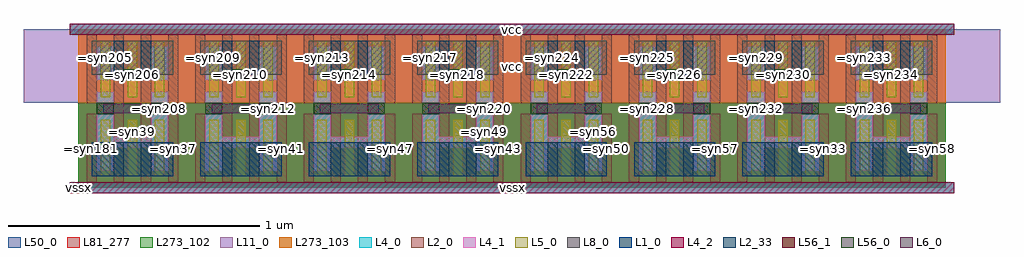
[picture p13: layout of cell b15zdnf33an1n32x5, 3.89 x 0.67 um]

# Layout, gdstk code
import gdstk
lib = gdstk.Library(unit=1e-6, precision=5e-10)
def R(c, l, rs):  # rectangles x0, y0, x1, y1
    for r in rs: c.add(gdstk.rectangle(r[:2], r[2:], *l))
def A(c, l, x, y, w, h, nx, ny, dx, dy):  # array of equal rectangles
    R(c, l, [(x+i*dx, y+j*dy, x+i*dx+w, y+j*dy+h) for i in range(nx) for j in range(ny)])
def P(c, l, *ps):  # polygons
    for p in ps: c.add(gdstk.Polygon(p, *l))
L1_0 = (1, 0)
L2_0 = (2, 0)
L2_33 = (2, 33)
L4_0 = (4, 0)
L4_1 = (4, 1)
L4_2 = (4, 2)
L5_0 = (5, 0)
L6_0 = (6, 0)
L8_0 = (8, 0)
L11_0 = (11, 0)
L50_0 = (50, 0)
L56_0 = (56, 0)
L56_1 = (56, 1)
L81_277 = (81, 277)
L273_102 = (273, 102)
L273_103 = (273, 103)

b15zdnf33an1n32x5 = lib.new_cell('b15zdnf33an1n32x5')
A(b15zdnf33an1n32x5, L1_0, 0.054, 0.045, 0.324, 0.135, 8, 1, 0.432, 0)
R(b15zdnf33an1n32x5, L2_0, [(0.034,0.021,0.074,0.294), (0.142,0.021,0.182,0.609), (0.25,0.021,0.29,0.609), (0.358,0.021,0.398,0.294), (0.466,0.021,0.506,0.294), (0.574,0.021,0.614,0.609), (0.682,0.021,0.722,0.609), (0.79,0.021,0.83,0.294), (0.898,0.021,0.938,0.294), (1.006,0.021,1.046,0.609), (1.114,0.021,1.154,0.609), (1.222,0.021,1.262,0.294), (1.33,0.021,1.37,0.294), (1.438,0.021,1.478,0.609), (1.546,0.021,1.586,0.609), (1.654,0.021,1.694,0.294), (1.762,0.021,1.802,0.294), (1.87,0.021,1.91,0.609), (1.978,0.021,2.018,0.609), (2.086,0.021,2.126,0.294), (2.194,0.021,2.234,0.294), (2.302,0.021,2.342,0.609), (2.41,0.021,2.45,0.609), (2.518,0.021,2.558,0.294), (2.626,0.021,2.666,0.294), (2.734,0.021,2.774,0.609), (2.842,0.021,2.882,0.609), (2.95,0.021,2.99,0.294), (3.058,0.021,3.098,0.294), (3.166,0.021,3.206,0.609), (3.274,0.021,3.314,0.609), (3.382,0.021,3.422,0.294), (0.034,0.336,0.074,0.609), (0.358,0.336,0.398,0.609), (0.466,0.336,0.506,0.609), (0.79,0.336,0.83,0.609), (0.898,0.336,0.938,0.609), (1.222,0.336,1.262,0.609), (1.33,0.336,1.37,0.609), (1.654,0.336,1.694,0.609), (1.762,0.336,1.802,0.609), (2.086,0.336,2.126,0.609), (2.194,0.336,2.234,0.609), (2.518,0.336,2.558,0.609), (2.626,0.336,2.666,0.609), (2.95,0.336,2.99,0.609), (3.058,0.336,3.098,0.609), (3.382,0.336,3.422,0.609)])
R(b15zdnf33an1n32x5, L2_33, [(0.142,0.045,0.182,0.18), (0.25,0.045,0.29,0.18), (0.574,0.045,0.614,0.18), (0.682,0.045,0.722,0.18), (1.006,0.045,1.046,0.18), (1.114,0.045,1.154,0.18), (1.438,0.045,1.478,0.18), (1.546,0.045,1.586,0.18), (1.87,0.045,1.91,0.18), (1.978,0.045,2.018,0.18), (2.302,0.045,2.342,0.18), (2.41,0.045,2.45,0.18), (2.734,0.045,2.774,0.18), (2.842,0.045,2.882,0.18), (3.166,0.045,3.206,0.18), (3.274,0.045,3.314,0.18), (0.142,0.45,0.182,0.585), (0.25,0.45,0.29,0.585), (0.574,0.45,0.614,0.585), (0.682,0.45,0.722,0.585), (1.006,0.45,1.046,0.585), (1.114,0.45,1.154,0.585), (1.438,0.45,1.478,0.585), (1.546,0.45,1.586,0.585), (1.87,0.45,1.91,0.585), (1.978,0.45,2.018,0.585), (2.302,0.45,2.342,0.585), (2.41,0.45,2.45,0.585), (2.734,0.45,2.774,0.585), (2.842,0.45,2.882,0.585), (3.166,0.45,3.206,0.585), (3.274,0.45,3.314,0.585)])
R(b15zdnf33an1n32x5, L4_0, [(-0.034,-0.022,3.49,0.022), (-0.034,0.608,3.49,0.652)])
P(b15zdnf33an1n32x5, L4_0, [(0.358,0.428),(0.074,0.428),(0.074,0.562),(0.142,0.562),(0.142,0.472),(0.29,0.472),(0.29,0.562),(0.358,0.562)],
  [(0.358,0.068),(0.29,0.068),(0.29,0.158),(0.142,0.158),(0.142,0.068),(0.074,0.068),(0.074,0.382),(0.142,0.382),(0.142,0.202),(0.29,0.202),(0.29,0.382),(0.358,0.382)],
  [(0.79,0.428),(0.506,0.428),(0.506,0.562),(0.574,0.562),(0.574,0.472),(0.722,0.472),(0.722,0.562),(0.79,0.562)],
  [(0.79,0.068),(0.722,0.068),(0.722,0.158),(0.574,0.158),(0.574,0.068),(0.506,0.068),(0.506,0.382),(0.574,0.382),(0.574,0.202),(0.722,0.202),(0.722,0.382),(0.79,0.382)],
  [(1.222,0.428),(0.938,0.428),(0.938,0.562),(1.006,0.562),(1.006,0.472),(1.154,0.472),(1.154,0.562),(1.222,0.562)],
  [(1.222,0.068),(1.154,0.068),(1.154,0.158),(1.006,0.158),(1.006,0.068),(0.938,0.068),(0.938,0.382),(1.006,0.382),(1.006,0.202),(1.154,0.202),(1.154,0.382),(1.222,0.382)],
  [(1.654,0.428),(1.37,0.428),(1.37,0.562),(1.438,0.562),(1.438,0.472),(1.586,0.472),(1.586,0.562),(1.654,0.562)],
  [(1.654,0.068),(1.586,0.068),(1.586,0.158),(1.438,0.158),(1.438,0.068),(1.37,0.068),(1.37,0.382),(1.438,0.382),(1.438,0.202),(1.586,0.202),(1.586,0.382),(1.654,0.382)],
  [(2.086,0.428),(1.802,0.428),(1.802,0.562),(1.87,0.562),(1.87,0.472),(2.018,0.472),(2.018,0.562),(2.086,0.562)],
  [(2.086,0.068),(2.018,0.068),(2.018,0.158),(1.87,0.158),(1.87,0.068),(1.802,0.068),(1.802,0.382),(1.87,0.382),(1.87,0.202),(2.018,0.202),(2.018,0.382),(2.086,0.382)],
  [(2.518,0.428),(2.234,0.428),(2.234,0.562),(2.302,0.562),(2.302,0.472),(2.45,0.472),(2.45,0.562),(2.518,0.562)],
  [(2.518,0.068),(2.45,0.068),(2.45,0.158),(2.302,0.158),(2.302,0.068),(2.234,0.068),(2.234,0.382),(2.302,0.382),(2.302,0.202),(2.45,0.202),(2.45,0.382),(2.518,0.382)],
  [(2.95,0.428),(2.666,0.428),(2.666,0.562),(2.734,0.562),(2.734,0.472),(2.882,0.472),(2.882,0.562),(2.95,0.562)],
  [(2.95,0.068),(2.882,0.068),(2.882,0.158),(2.734,0.158),(2.734,0.068),(2.666,0.068),(2.666,0.382),(2.734,0.382),(2.734,0.202),(2.882,0.202),(2.882,0.382),(2.95,0.382)],
  [(3.382,0.428),(3.098,0.428),(3.098,0.562),(3.166,0.562),(3.166,0.472),(3.314,0.472),(3.314,0.562),(3.382,0.562)],
  [(3.382,0.068),(3.314,0.068),(3.314,0.158),(3.166,0.158),(3.166,0.068),(3.098,0.068),(3.098,0.382),(3.166,0.382),(3.166,0.202),(3.314,0.202),(3.314,0.382),(3.382,0.382)])
P(b15zdnf33an1n32x5, L4_1, [(0.358,0.428),(0.074,0.428),(0.074,0.562),(0.142,0.562),(0.142,0.472),(0.29,0.472),(0.29,0.562),(0.358,0.562)],
  [(0.358,0.068),(0.29,0.068),(0.29,0.158),(0.142,0.158),(0.142,0.068),(0.074,0.068),(0.074,0.382),(0.142,0.382),(0.142,0.202),(0.29,0.202),(0.29,0.382),(0.358,0.382)],
  [(0.79,0.428),(0.506,0.428),(0.506,0.562),(0.574,0.562),(0.574,0.472),(0.722,0.472),(0.722,0.562),(0.79,0.562)],
  [(0.79,0.068),(0.722,0.068),(0.722,0.158),(0.574,0.158),(0.574,0.068),(0.506,0.068),(0.506,0.382),(0.574,0.382),(0.574,0.202),(0.722,0.202),(0.722,0.382),(0.79,0.382)],
  [(1.222,0.428),(0.938,0.428),(0.938,0.562),(1.006,0.562),(1.006,0.472),(1.154,0.472),(1.154,0.562),(1.222,0.562)],
  [(1.222,0.068),(1.154,0.068),(1.154,0.158),(1.006,0.158),(1.006,0.068),(0.938,0.068),(0.938,0.382),(1.006,0.382),(1.006,0.202),(1.154,0.202),(1.154,0.382),(1.222,0.382)],
  [(1.654,0.428),(1.37,0.428),(1.37,0.562),(1.438,0.562),(1.438,0.472),(1.586,0.472),(1.586,0.562),(1.654,0.562)],
  [(1.654,0.068),(1.586,0.068),(1.586,0.158),(1.438,0.158),(1.438,0.068),(1.37,0.068),(1.37,0.382),(1.438,0.382),(1.438,0.202),(1.586,0.202),(1.586,0.382),(1.654,0.382)],
  [(2.086,0.428),(1.802,0.428),(1.802,0.562),(1.87,0.562),(1.87,0.472),(2.018,0.472),(2.018,0.562),(2.086,0.562)],
  [(2.086,0.068),(2.018,0.068),(2.018,0.158),(1.87,0.158),(1.87,0.068),(1.802,0.068),(1.802,0.382),(1.87,0.382),(1.87,0.202),(2.018,0.202),(2.018,0.382),(2.086,0.382)],
  [(2.518,0.428),(2.234,0.428),(2.234,0.562),(2.302,0.562),(2.302,0.472),(2.45,0.472),(2.45,0.562),(2.518,0.562)],
  [(2.518,0.068),(2.45,0.068),(2.45,0.158),(2.302,0.158),(2.302,0.068),(2.234,0.068),(2.234,0.382),(2.302,0.382),(2.302,0.202),(2.45,0.202),(2.45,0.382),(2.518,0.382)],
  [(2.95,0.428),(2.666,0.428),(2.666,0.562),(2.734,0.562),(2.734,0.472),(2.882,0.472),(2.882,0.562),(2.95,0.562)],
  [(2.95,0.068),(2.882,0.068),(2.882,0.158),(2.734,0.158),(2.734,0.068),(2.666,0.068),(2.666,0.382),(2.734,0.382),(2.734,0.202),(2.882,0.202),(2.882,0.382),(2.95,0.382)],
  [(3.382,0.428),(3.098,0.428),(3.098,0.562),(3.166,0.562),(3.166,0.472),(3.314,0.472),(3.314,0.562),(3.382,0.562)],
  [(3.382,0.068),(3.314,0.068),(3.314,0.158),(3.166,0.158),(3.166,0.068),(3.098,0.068),(3.098,0.382),(3.166,0.382),(3.166,0.202),(3.314,0.202),(3.314,0.382),(3.382,0.382)])
R(b15zdnf33an1n32x5, L4_2, [(-0.034,-0.022,3.49,0.022), (-0.034,0.608,3.49,0.652)])
A(b15zdnf33an1n32x5, L5_0, 0.089, 0.045, 0.038, 0.225, 3, 2, 0.108, 0.315)
A(b15zdnf33an1n32x5, L5_0, 0.521, 0.045, 0.038, 0.225, 3, 2, 0.108, 0.315)
A(b15zdnf33an1n32x5, L5_0, 0.953, 0.045, 0.038, 0.225, 3, 2, 0.108, 0.315)
A(b15zdnf33an1n32x5, L5_0, 1.385, 0.045, 0.038, 0.225, 3, 2, 0.108, 0.315)
A(b15zdnf33an1n32x5, L5_0, 1.817, 0.045, 0.038, 0.225, 3, 2, 0.108, 0.315)
A(b15zdnf33an1n32x5, L5_0, 2.249, 0.045, 0.038, 0.225, 3, 2, 0.108, 0.315)
A(b15zdnf33an1n32x5, L5_0, 2.681, 0.045, 0.038, 0.225, 3, 2, 0.108, 0.315)
A(b15zdnf33an1n32x5, L5_0, 3.113, 0.045, 0.038, 0.225, 3, 2, 0.108, 0.315)
A(b15zdnf33an1n32x5, L6_0, 0.099, 0.296, 0.234, 0.038, 8, 1, 0.432, 0)
A(b15zdnf33an1n32x5, L8_0, 0.054, 0.45, 0.324, 0.135, 8, 1, 0.432, 0)
R(b15zdnf33an1n32x5, L11_0, [(-0.216,0.3375,3.672,0.63)])
R(b15zdnf33an1n32x5, L50_0, [(0,0,3.456,0.63)])
A(b15zdnf33an1n32x5, L56_0, 0.074, 0.293, 0.068, 0.044, 16, 1, 0.216, 0)
A(b15zdnf33an1n32x5, L56_0, 0.182, 0.428, 0.068, 0.044, 8, 1, 0.432, 0)
A(b15zdnf33an1n32x5, L56_1, 0.074, 0.293, 0.068, 0.044, 16, 1, 0.216, 0)
A(b15zdnf33an1n32x5, L56_1, 0.182, 0.428, 0.068, 0.044, 8, 1, 0.432, 0)
R(b15zdnf33an1n32x5, L81_277, [(0,0,3.456,0.63)])
R(b15zdnf33an1n32x5, L273_102, [(0,0,3.456,0.3375)])
R(b15zdnf33an1n32x5, L273_103, [(0,0.3375,3.456,0.63)])
b15zdnf33an1n32x5.add(gdstk.Label('vssx', (0,0), layer=81, texttype=6))
b15zdnf33an1n32x5.add(gdstk.Label('vcc', (1.728,0.484), layer=11, texttype=0))
b15zdnf33an1n32x5.add(gdstk.Label('=syn205', (0.108,0.5175), layer=8, texttype=0))
b15zdnf33an1n32x5.add(gdstk.Label('=syn209', (0.54,0.5175), layer=8, texttype=0))
b15zdnf33an1n32x5.add(gdstk.Label('=syn213', (0.972,0.5175), layer=8, texttype=0))
b15zdnf33an1n32x5.add(gdstk.Label('=syn217', (1.404,0.5175), layer=8, texttype=0))
b15zdnf33an1n32x5.add(gdstk.Label('=syn221', (1.836,0.5175), layer=8, texttype=0))
b15zdnf33an1n32x5.add(gdstk.Label('=syn225', (2.268,0.5175), layer=8, texttype=0))
b15zdnf33an1n32x5.add(gdstk.Label('=syn229', (2.7,0.5175), layer=8, texttype=0))
b15zdnf33an1n32x5.add(gdstk.Label('=syn233', (3.132,0.5175), layer=8, texttype=0))
b15zdnf33an1n32x5.add(gdstk.Label('=syn206', (0.216,0.45), layer=4, texttype=0))
b15zdnf33an1n32x5.add(gdstk.Label('=syn208', (0.324,0.315), layer=4, texttype=0))
b15zdnf33an1n32x5.add(gdstk.Label('=syn210', (0.648,0.45), layer=4, texttype=0))
b15zdnf33an1n32x5.add(gdstk.Label('=syn212', (0.756,0.315), layer=4, texttype=0))
b15zdnf33an1n32x5.add(gdstk.Label('=syn214', (1.08,0.45), layer=4, texttype=0))
b15zdnf33an1n32x5.add(gdstk.Label('=syn216', (0.972,0.315), layer=4, texttype=0))
b15zdnf33an1n32x5.add(gdstk.Label('=syn218', (1.512,0.45), layer=4, texttype=0))
b15zdnf33an1n32x5.add(gdstk.Label('=syn220', (1.62,0.315), layer=4, texttype=0))
b15zdnf33an1n32x5.add(gdstk.Label('=syn222', (1.944,0.45), layer=4, texttype=0))
b15zdnf33an1n32x5.add(gdstk.Label('=syn224', (1.836,0.315), layer=4, texttype=0))
b15zdnf33an1n32x5.add(gdstk.Label('=syn226', (2.376,0.45), layer=4, texttype=0))
b15zdnf33an1n32x5.add(gdstk.Label('=syn228', (2.268,0.315), layer=4, texttype=0))
b15zdnf33an1n32x5.add(gdstk.Label('=syn230', (2.808,0.45), layer=4, texttype=0))
b15zdnf33an1n32x5.add(gdstk.Label('=syn232', (2.7,0.315), layer=4, texttype=0))
b15zdnf33an1n32x5.add(gdstk.Label('=syn234', (3.24,0.45), layer=4, texttype=0))
b15zdnf33an1n32x5.add(gdstk.Label('=syn236', (3.132,0.315), layer=4, texttype=0))
b15zdnf33an1n32x5.add(gdstk.Label('vcc', (1.728,0.63), layer=4, texttype=0))
b15zdnf33an1n32x5.add(gdstk.Label('vssx', (1.728,0), layer=4, texttype=0))
b15zdnf33an1n32x5.add(gdstk.Label('vcc', (1.728,0.63), layer=4, texttype=2))
b15zdnf33an1n32x5.add(gdstk.Label('vssx', (1.728,0), layer=4, texttype=2))
b15zdnf33an1n32x5.add(gdstk.Label('=syn182', (0.054,0.4725), layer=2, texttype=0))
b15zdnf33an1n32x5.add(gdstk.Label('=syn181', (0.054,0.1575), layer=2, texttype=0))
b15zdnf33an1n32x5.add(gdstk.Label('=syn208', (0.162,0.5175), layer=2, texttype=0))
b15zdnf33an1n32x5.add(gdstk.Label('=syn208', (0.27,0.5175), layer=2, texttype=0))
b15zdnf33an1n32x5.add(gdstk.Label('=syn38', (0.378,0.4725), layer=2, texttype=0))
b15zdnf33an1n32x5.add(gdstk.Label('=syn37', (0.378,0.1575), layer=2, texttype=0))
b15zdnf33an1n32x5.add(gdstk.Label('=syn185', (0.486,0.4725), layer=2, texttype=0))
b15zdnf33an1n32x5.add(gdstk.Label('=syn184', (0.486,0.1575), layer=2, texttype=0))
b15zdnf33an1n32x5.add(gdstk.Label('=syn212', (0.594,0.5175), layer=2, texttype=0))
b15zdnf33an1n32x5.add(gdstk.Label('=syn212', (0.702,0.5175), layer=2, texttype=0))
b15zdnf33an1n32x5.add(gdstk.Label('=syn42', (0.81,0.4725), layer=2, texttype=0))
b15zdnf33an1n32x5.add(gdstk.Label('=syn41', (0.81,0.1575), layer=2, texttype=0))
b15zdnf33an1n32x5.add(gdstk.Label('=syn188', (0.918,0.4725), layer=2, texttype=0))
b15zdnf33an1n32x5.add(gdstk.Label('=syn187', (0.918,0.1575), layer=2, texttype=0))
b15zdnf33an1n32x5.add(gdstk.Label('=syn216', (1.026,0.5175), layer=2, texttype=0))
b15zdnf33an1n32x5.add(gdstk.Label('=syn216', (1.134,0.5175), layer=2, texttype=0))
b15zdnf33an1n32x5.add(gdstk.Label('=syn51', (1.242,0.4725), layer=2, texttype=0))
b15zdnf33an1n32x5.add(gdstk.Label('=syn47', (1.242,0.1575), layer=2, texttype=0))
b15zdnf33an1n32x5.add(gdstk.Label('=syn191', (1.35,0.4725), layer=2, texttype=0))
b15zdnf33an1n32x5.add(gdstk.Label('=syn190', (1.35,0.1575), layer=2, texttype=0))
b15zdnf33an1n32x5.add(gdstk.Label('=syn220', (1.458,0.5175), layer=2, texttype=0))
b15zdnf33an1n32x5.add(gdstk.Label('=syn220', (1.566,0.5175), layer=2, texttype=0))
b15zdnf33an1n32x5.add(gdstk.Label('=syn46', (1.674,0.4725), layer=2, texttype=0))
b15zdnf33an1n32x5.add(gdstk.Label('=syn43', (1.674,0.1575), layer=2, texttype=0))
b15zdnf33an1n32x5.add(gdstk.Label('=syn194', (1.782,0.4725), layer=2, texttype=0))
b15zdnf33an1n32x5.add(gdstk.Label('=syn193', (1.782,0.1575), layer=2, texttype=0))
b15zdnf33an1n32x5.add(gdstk.Label('=syn224', (1.89,0.5175), layer=2, texttype=0))
b15zdnf33an1n32x5.add(gdstk.Label('=syn224', (1.998,0.5175), layer=2, texttype=0))
b15zdnf33an1n32x5.add(gdstk.Label('=syn52', (2.106,0.4725), layer=2, texttype=0))
b15zdnf33an1n32x5.add(gdstk.Label('=syn50', (2.106,0.1575), layer=2, texttype=0))
b15zdnf33an1n32x5.add(gdstk.Label('=syn198', (2.214,0.4725), layer=2, texttype=0))
b15zdnf33an1n32x5.add(gdstk.Label('=syn196', (2.214,0.1575), layer=2, texttype=0))
b15zdnf33an1n32x5.add(gdstk.Label('=syn228', (2.322,0.5175), layer=2, texttype=0))
b15zdnf33an1n32x5.add(gdstk.Label('=syn228', (2.43,0.5175), layer=2, texttype=0))
b15zdnf33an1n32x5.add(gdstk.Label('=syn59', (2.538,0.4725), layer=2, texttype=0))
b15zdnf33an1n32x5.add(gdstk.Label('=syn57', (2.538,0.1575), layer=2, texttype=0))
b15zdnf33an1n32x5.add(gdstk.Label('=syn203', (2.646,0.4725), layer=2, texttype=0))
b15zdnf33an1n32x5.add(gdstk.Label('=syn202', (2.646,0.1575), layer=2, texttype=0))
b15zdnf33an1n32x5.add(gdstk.Label('=syn232', (2.754,0.5175), layer=2, texttype=0))
b15zdnf33an1n32x5.add(gdstk.Label('=syn232', (2.862,0.5175), layer=2, texttype=0))
b15zdnf33an1n32x5.add(gdstk.Label('=syn34', (2.97,0.4725), layer=2, texttype=0))
b15zdnf33an1n32x5.add(gdstk.Label('=syn33', (2.97,0.1575), layer=2, texttype=0))
b15zdnf33an1n32x5.add(gdstk.Label('=syn199', (3.078,0.4725), layer=2, texttype=0))
b15zdnf33an1n32x5.add(gdstk.Label('=syn197', (3.078,0.1575), layer=2, texttype=0))
b15zdnf33an1n32x5.add(gdstk.Label('=syn236', (3.186,0.5175), layer=2, texttype=0))
b15zdnf33an1n32x5.add(gdstk.Label('=syn236', (3.294,0.5175), layer=2, texttype=0))
b15zdnf33an1n32x5.add(gdstk.Label('=syn60', (3.402,0.4725), layer=2, texttype=0))
b15zdnf33an1n32x5.add(gdstk.Label('=syn58', (3.402,0.1575), layer=2, texttype=0))
b15zdnf33an1n32x5.add(gdstk.Label('=syn39', (0.216,0.1125), layer=1, texttype=0))
b15zdnf33an1n32x5.add(gdstk.Label('=syn45', (0.756,0.1125), layer=1, texttype=0))
b15zdnf33an1n32x5.add(gdstk.Label('=syn54', (1.188,0.1125), layer=1, texttype=0))
b15zdnf33an1n32x5.add(gdstk.Label('=syn49', (1.62,0.1125), layer=1, texttype=0))
b15zdnf33an1n32x5.add(gdstk.Label('=syn56', (2.052,0.1125), layer=1, texttype=0))
b15zdnf33an1n32x5.add(gdstk.Label('=syn29', (2.376,0.1125), layer=1, texttype=0))
b15zdnf33an1n32x5.add(gdstk.Label('=syn36', (2.916,0.1125), layer=1, texttype=0))
b15zdnf33an1n32x5.add(gdstk.Label('=syn32', (3.348,0.1125), layer=1, texttype=0))
b15zdnf33an1n32x5.add(gdstk.Label('=syn208', (0.324,0.315), layer=6, texttype=0))
b15zdnf33an1n32x5.add(gdstk.Label('=syn212', (0.756,0.315), layer=6, texttype=0))
b15zdnf33an1n32x5.add(gdstk.Label('=syn216', (0.972,0.315), layer=6, texttype=0))
b15zdnf33an1n32x5.add(gdstk.Label('=syn220', (1.62,0.315), layer=6, texttype=0))
b15zdnf33an1n32x5.add(gdstk.Label('=syn224', (1.836,0.315), layer=6, texttype=0))
b15zdnf33an1n32x5.add(gdstk.Label('=syn228', (2.268,0.315), layer=6, texttype=0))
b15zdnf33an1n32x5.add(gdstk.Label('=syn232', (2.7,0.315), layer=6, texttype=0))
b15zdnf33an1n32x5.add(gdstk.Label('=syn236', (3.132,0.315), layer=6, texttype=0))
b15zdnf33an1n32x5.add(gdstk.Label('=syn205', (0.108,0.405), layer=5, texttype=0))
b15zdnf33an1n32x5.add(gdstk.Label('=syn183', (0.108,0.1125), layer=5, texttype=0))
b15zdnf33an1n32x5.add(gdstk.Label('=syn206', (0.216,0.45), layer=5, texttype=0))
b15zdnf33an1n32x5.add(gdstk.Label('=syn39', (0.216,0.225), layer=5, texttype=0))
b15zdnf33an1n32x5.add(gdstk.Label('=syn207', (0.324,0.4725), layer=5, texttype=0))
b15zdnf33an1n32x5.add(gdstk.Label('=syn40', (0.324,0.1125), layer=5, texttype=0))
b15zdnf33an1n32x5.add(gdstk.Label('=syn209', (0.54,0.5175), layer=5, texttype=0))
b15zdnf33an1n32x5.add(gdstk.Label('=syn186', (0.54,0.1125), layer=5, texttype=0))
b15zdnf33an1n32x5.add(gdstk.Label('=syn210', (0.648,0.45), layer=5, texttype=0))
b15zdnf33an1n32x5.add(gdstk.Label('=syn44', (0.648,0.1125), layer=5, texttype=0))
b15zdnf33an1n32x5.add(gdstk.Label('=syn211', (0.756,0.4725), layer=5, texttype=0))
b15zdnf33an1n32x5.add(gdstk.Label('=syn45', (0.756,0.1125), layer=5, texttype=0))
b15zdnf33an1n32x5.add(gdstk.Label('=syn213', (0.972,0.5175), layer=5, texttype=0))
b15zdnf33an1n32x5.add(gdstk.Label('=syn189', (0.972,0.1125), layer=5, texttype=0))
b15zdnf33an1n32x5.add(gdstk.Label('=syn214', (1.08,0.45), layer=5, texttype=0))
b15zdnf33an1n32x5.add(gdstk.Label('=syn53', (1.08,0.1125), layer=5, texttype=0))
b15zdnf33an1n32x5.add(gdstk.Label('=syn215', (1.188,0.4725), layer=5, texttype=0))
b15zdnf33an1n32x5.add(gdstk.Label('=syn54', (1.188,0.1125), layer=5, texttype=0))
b15zdnf33an1n32x5.add(gdstk.Label('=syn217', (1.404,0.5175), layer=5, texttype=0))
b15zdnf33an1n32x5.add(gdstk.Label('=syn192', (1.404,0.1125), layer=5, texttype=0))
b15zdnf33an1n32x5.add(gdstk.Label('=syn218', (1.512,0.45), layer=5, texttype=0))
b15zdnf33an1n32x5.add(gdstk.Label('=syn48', (1.512,0.1125), layer=5, texttype=0))
b15zdnf33an1n32x5.add(gdstk.Label('=syn219', (1.62,0.4725), layer=5, texttype=0))
b15zdnf33an1n32x5.add(gdstk.Label('=syn49', (1.62,0.225), layer=5, texttype=0))
b15zdnf33an1n32x5.add(gdstk.Label('=syn221', (1.836,0.5175), layer=5, texttype=0))
b15zdnf33an1n32x5.add(gdstk.Label('=syn195', (1.836,0.1125), layer=5, texttype=0))
b15zdnf33an1n32x5.add(gdstk.Label('=syn222', (1.944,0.45), layer=5, texttype=0))
b15zdnf33an1n32x5.add(gdstk.Label('=syn55', (1.944,0.1125), layer=5, texttype=0))
b15zdnf33an1n32x5.add(gdstk.Label('=syn223', (2.052,0.4725), layer=5, texttype=0))
b15zdnf33an1n32x5.add(gdstk.Label('=syn56', (2.052,0.225), layer=5, texttype=0))
b15zdnf33an1n32x5.add(gdstk.Label('=syn225', (2.268,0.5175), layer=5, texttype=0))
b15zdnf33an1n32x5.add(gdstk.Label('=syn200', (2.268,0.1125), layer=5, texttype=0))
b15zdnf33an1n32x5.add(gdstk.Label('=syn226', (2.376,0.45), layer=5, texttype=0))
b15zdnf33an1n32x5.add(gdstk.Label('=syn29', (2.376,0.1125), layer=5, texttype=0))
b15zdnf33an1n32x5.add(gdstk.Label('=syn227', (2.484,0.4725), layer=5, texttype=0))
b15zdnf33an1n32x5.add(gdstk.Label('=syn30', (2.484,0.1125), layer=5, texttype=0))
b15zdnf33an1n32x5.add(gdstk.Label('=syn229', (2.7,0.5175), layer=5, texttype=0))
b15zdnf33an1n32x5.add(gdstk.Label('=syn204', (2.7,0.1125), layer=5, texttype=0))
b15zdnf33an1n32x5.add(gdstk.Label('=syn230', (2.808,0.45), layer=5, texttype=0))
b15zdnf33an1n32x5.add(gdstk.Label('=syn35', (2.808,0.1125), layer=5, texttype=0))
b15zdnf33an1n32x5.add(gdstk.Label('=syn231', (2.916,0.4725), layer=5, texttype=0))
b15zdnf33an1n32x5.add(gdstk.Label('=syn36', (2.916,0.1125), layer=5, texttype=0))
b15zdnf33an1n32x5.add(gdstk.Label('=syn233', (3.132,0.5175), layer=5, texttype=0))
b15zdnf33an1n32x5.add(gdstk.Label('=syn201', (3.132,0.1125), layer=5, texttype=0))
b15zdnf33an1n32x5.add(gdstk.Label('=syn234', (3.24,0.45), layer=5, texttype=0))
b15zdnf33an1n32x5.add(gdstk.Label('=syn31', (3.24,0.1125), layer=5, texttype=0))
b15zdnf33an1n32x5.add(gdstk.Label('=syn235', (3.348,0.4725), layer=5, texttype=0))
b15zdnf33an1n32x5.add(gdstk.Label('=syn32', (3.348,0.1125), layer=5, texttype=0))

lib.write_gds('b15zdnf33an1n32x5.gds')
